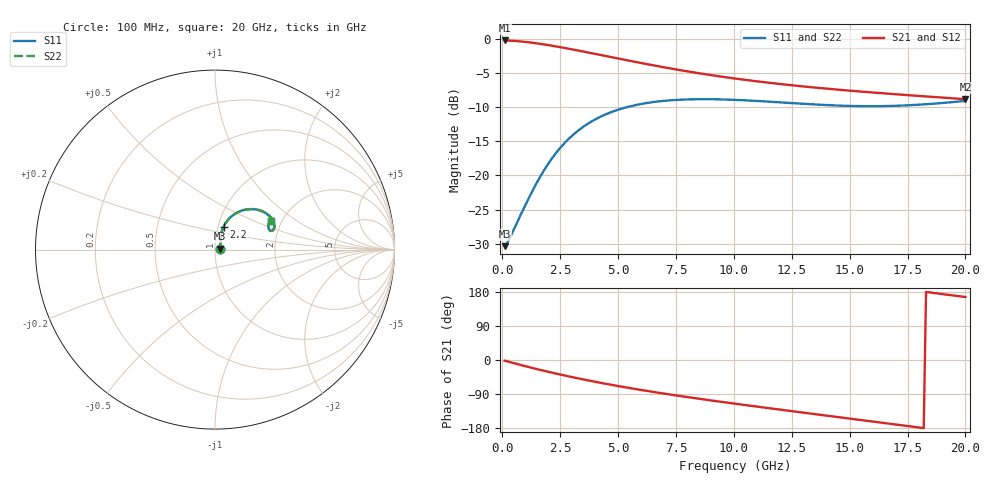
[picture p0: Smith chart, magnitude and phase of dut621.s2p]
! Touchstone file exported from HFSS 2024.1.0
!  File:  C:/UserFiles/LocalFiles/RDL_TSV_Batchsim/temp_RDL_TSV_621_1779801998.aedt
!  Generated:  09:40:21 PM May 26, 2026
!  Design:  RDL_TSV
!  Project:  temp_RDL_TSV_621_1779801998
!  Setup:  Setup1
!  Solution:  Sweep
! Variables:
!  dtsv = 11.01um
!  hbump = 3um
!  htsv = 61.39um
!  ldown = 511.87um
!  lrdl = 298.5um
!  p = 40
!  p1 = 43.95um
!  rhole = 10um
!  subl = 2729.61um
!  t = 450um
!  tdown = 2.9um
!  trdl = 2.29um
!  viad = 10um
!  wdown = 12.88um
!  wrdl = 11.47um
!  xbump = 18um
# GHz S MA R 50.000000
! Terminal data exported
! Port[1] = TM1_1_T1
! Port[2] = TM1_4_T1
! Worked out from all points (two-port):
!   200 points, 100 MHz to 20 GHz, reference 50 ohm
!   highest |S21| = -0.27 dB at 100 MHz (marker M1); lowest = -8.9 dB at 20 GHz (marker M2)
!   |S21| within 3 dB of the highest: start of sweep to 5.54 GHz
!   lowest |S11| = -30.4 dB at 100 MHz (marker M3), VSWR 1.06, Z = 53.1 + j0.563 ohm
!   |S11| at or under -10 dB: start of sweep to 5.404 GHz
!   |S22| runs from -30.4 to -8.9 dB; largest |S21 - S12| = 9.9e-15
!   S11 on the Smith chart (normalised r, x): 100 MHz: 1.06, +0.01; 2.2 GHz: 1.06, +0.28; 20 GHz: 1.75, +0.64
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0.1  0.03035 10.0  0.9699 -1.7  0.9699 -1.7  0.03035 10.0
! Gamma 0 0 0 0
! Port Impedance 50 0 50 0
0.3  0.03415 27.4  0.9674 -5.1  0.9674 -5.1  0.03415 27.4
0.6  0.04379 44.9  0.9603 -10.0  0.9603 -10.0  0.04378 44.9
1  0.0608 58.8  0.9463 -16.4  0.9463 -16.4  0.0608 58.8
1.6  0.09535 68.4  0.9181 -25.5  0.9181 -25.5  0.09535 68.4
1.9  0.1157 69.6  0.9018 -29.9  0.9018 -29.9  0.1157 69.7
2.2  0.1371 69.4  0.8845 -34.2  0.8845 -34.2  0.1371 69.5
2.8  0.1802 66.5  0.8482 -42.4  0.8482 -42.4  0.1802 66.5
3.5  0.2268 61.0  0.805 -51.3  0.805 -51.3  0.2268 61.0
4.2  0.2664 55.0  0.7624 -59.7  0.7624 -59.7  0.2665 55.0
4.9  0.2982 49.1  0.7216 -67.6  0.7216 -67.6  0.2982 49.1
5.8  0.3278 42.2  0.6731 -77.1  0.6731 -77.1  0.3278 42.3
6.8  0.3482 35.7  0.6252 -86.9  0.6252 -86.9  0.3482 35.7
7.6  0.3569 31.2  0.5914 -94.3  0.5914 -94.3  0.3569 31.3
8.4  0.3605 27.5  0.5616 -101.4  0.5616 -101.4  0.3605 27.5
10.1  0.3563 21.8  0.5094 -115.7  0.5094 -115.7  0.3563 21.8
11.7  0.3445 18.9  0.4717 -128.6  0.4717 -128.6  0.3445 19.0
13.4  0.3307 18.3  0.4403 -142.1  0.4403 -142.1  0.3307 18.4
15  0.322 19.8  0.4165 -154.6  0.4165 -154.6  0.322 19.8
16.7  0.3217 22.5  0.3952 -167.9  0.3952 -167.9  0.3217 22.6
18.3  0.3313 25.3  0.3776 179.5  0.3776 179.5  0.3314 25.4
20  0.3503 27.3  0.3606 166.2  0.3606 166.2  0.3506 27.4
